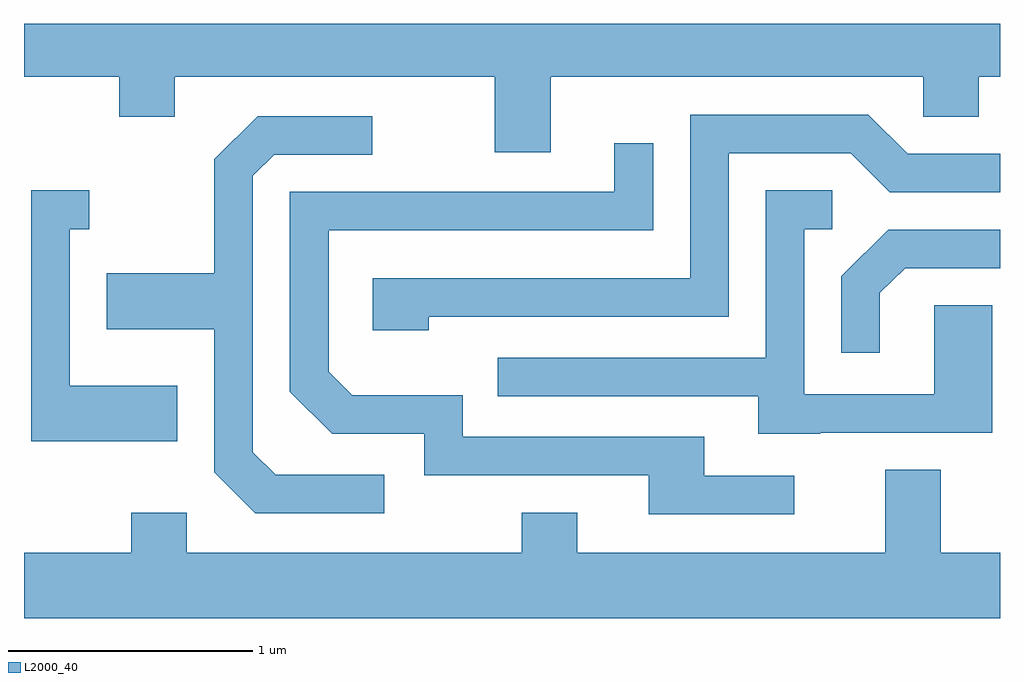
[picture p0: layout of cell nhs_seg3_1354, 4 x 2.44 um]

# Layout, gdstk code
import gdstk
lib = gdstk.Library(unit=1e-6, precision=1e-09)
def P(c, l, *ps):  # polygons
    for p in ps: c.add(gdstk.Polygon(p, *l))
L2000_40 = (2000, 40)

nhs_seg3_1354 = lib.new_cell('nhs_seg3_1354')
P(nhs_seg3_1354, L2000_40, [(225.769,1243.676),(227.296,1243.676),(227.296,1243.511),(227.524,1243.511),(227.524,1243.676),(227.611,1243.676),(227.611,1243.892),(223.611,1243.892),(223.611,1243.676),(224.001,1243.676),(224.001,1243.511),(224.229,1243.511),(224.229,1243.676),(225.541,1243.676),(225.541,1243.366),(225.769,1243.366)],
  [(225.269,1242.691),(226.499,1242.691),(226.499,1243.361),(226.999,1243.361),(227.159,1243.201),(227.611,1243.201),(227.611,1243.359),(227.232,1243.359),(227.072,1243.519),(226.341,1243.519),(226.341,1242.849),(225.041,1242.849),(225.041,1242.636),(225.269,1242.636)],
  [(225.088,1242.044),(224.642,1242.044),(224.549,1242.137),(224.549,1243.269),(224.637,1243.356),(225.038,1243.356),(225.038,1243.514),(224.569,1243.514),(224.391,1243.337),(224.391,1242.869),(223.951,1242.869),(223.951,1242.641),(224.391,1242.641),(224.391,1242.054),(224.559,1241.886),(225.088,1241.886)],
  [(226.768,1242.039),(226.399,1242.039),(226.399,1242.199),(225.409,1242.199),(225.409,1242.369),(224.957,1242.369),(224.859,1242.467),(224.859,1243.046),(226.189,1243.046),(226.189,1243.403),(226.031,1243.403),(226.031,1243.204),(224.701,1243.204),(224.701,1242.384),(224.874,1242.211),(225.251,1242.211),(225.251,1242.041),(226.171,1242.041),(226.171,1241.881),(226.768,1241.881)],
  [(224.239,1242.409),(223.799,1242.409),(223.799,1243.051),(223.878,1243.051),(223.878,1243.209),(223.641,1243.209),(223.641,1242.181),(224.239,1242.181)],
  [(226.875,1242.216),(227.579,1242.216),(227.579,1242.739),(227.341,1242.739),(227.341,1242.374),(226.809,1242.374),(226.809,1243.051),(226.923,1243.051),(226.923,1243.209),(226.651,1243.209),(226.651,1242.524),(225.553,1242.524),(225.553,1242.366),(226.621,1242.366),(226.621,1242.211),(226.875,1242.211)],
  [(227.119,1242.789),(227.222,1242.891),(227.611,1242.891),(227.611,1243.049),(227.154,1243.049),(226.961,1242.857),(226.961,1242.543),(227.119,1242.543)],
  [(227.611,1241.724),(227.369,1241.724),(227.369,1242.064),(227.141,1242.064),(227.141,1241.724),(225.879,1241.724),(225.879,1241.889),(225.651,1241.889),(225.651,1241.724),(224.279,1241.724),(224.279,1241.889),(224.051,1241.889),(224.051,1241.724),(223.611,1241.724),(223.611,1241.456),(227.611,1241.456)])

lib.write_gds('nhs_seg3_1354.gds')
